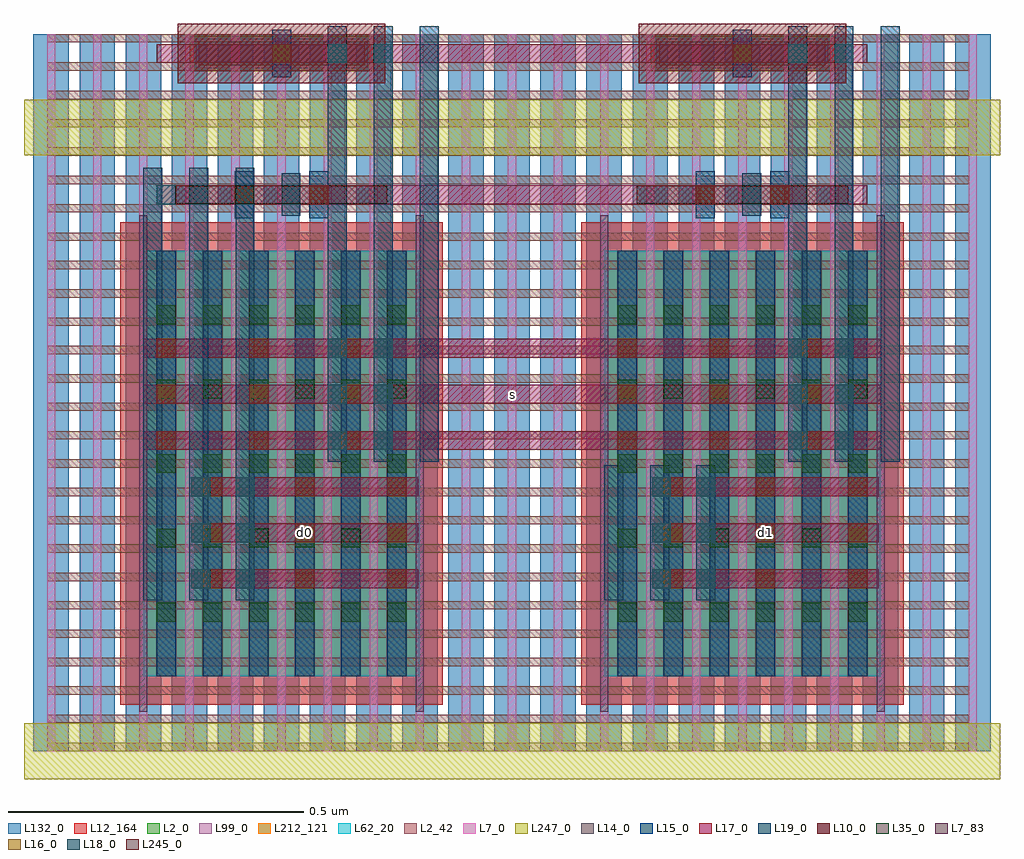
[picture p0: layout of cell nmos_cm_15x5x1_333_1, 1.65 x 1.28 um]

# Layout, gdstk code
import gdstk
lib = gdstk.Library(unit=1e-6, precision=1e-12)
def R(c, l, rs):  # rectangles x0, y0, x1, y1
    for r in rs: c.add(gdstk.rectangle(r[:2], r[2:], *l))
def A(c, l, x, y, w, h, nx, ny, dx, dy):  # array of equal rectangles
    R(c, l, [(x+i*dx, y+j*dy, x+i*dx+w, y+j*dy+h) for i in range(nx) for j in range(ny)])
L2_0 = (2, 0)
L2_42 = (2, 42)
L7_0 = (7, 0)
L7_83 = (7, 83)
L10_0 = (10, 0)
L12_164 = (12, 164)
L14_0 = (14, 0)
L15_0 = (15, 0)
L16_0 = (16, 0)
L17_0 = (17, 0)
L18_0 = (18, 0)
L19_0 = (19, 0)
L35_0 = (35, 0)
L62_20 = (62, 20)
L99_0 = (99, 0)
L132_0 = (132, 0)
L212_121 = (212, 121)
L245_0 = (245, 0)
L247_0 = (247, 0)

nmos_cm_15x5x1_333_1 = lib.new_cell('nmos_cm_15x5x1_333_1')
R(nmos_cm_15x5x1_333_1, L2_0, [(0.186,0.127,0.654,0.847), (0.966,0.127,1.434,0.847), (0.2645,1.151,0.5755,1.211), (1.0445,1.151,1.3555,1.211)])
A(nmos_cm_15x5x1_333_1, L2_42, 0.023, 0, 1.56, 0.014, 1, 26, 0, 0.048)
A(nmos_cm_15x5x1_333_1, L7_0, 0.023, 0, 0.014, 1.214, 21, 1, 0.078, 0)
R(nmos_cm_15x5x1_333_1, L7_83, [(0.179,0.067,0.193,0.907), (0.647,0.067,0.661,0.907), (0.959,0.067,0.973,0.907), (1.427,0.067,1.441,0.907)])
R(nmos_cm_15x5x1_333_1, L10_0, [(0.2445,1.131,0.5955,1.231), (1.0245,1.131,1.3755,1.231)])
R(nmos_cm_15x5x1_333_1, L12_164, [(0.147,0.079,0.693,0.895), (0.927,0.079,1.473,0.895)])
A(nmos_cm_15x5x1_333_1, L14_0, 0.208, 0.127, 0.034, 0.72, 6, 1, 0.078, 0)
A(nmos_cm_15x5x1_333_1, L14_0, 0.988, 0.127, 0.034, 0.72, 6, 1, 0.078, 0)
R(nmos_cm_15x5x1_333_1, L14_0, [(0.2795,1.161,0.5605,1.201), (1.0595,1.161,1.3405,1.201)])
A(nmos_cm_15x5x1_333_1, L15_0, 0.209, 0.127, 0.032, 0.72, 6, 1, 0.078, 0)
A(nmos_cm_15x5x1_333_1, L15_0, 0.989, 0.127, 0.032, 0.72, 6, 1, 0.078, 0)
R(nmos_cm_15x5x1_333_1, L15_0, [(0.341,0.902,0.373,0.982), (0.467,0.902,0.499,0.982), (1.121,0.902,1.153,0.982), (1.247,0.902,1.279,0.982), (0.404,1.141,0.436,1.221), (1.184,1.141,1.216,1.221)])
A(nmos_cm_15x5x1_333_1, L16_0, 0.287, 0.276, 0.032, 0.032, 3, 3, 0.156, 0.078)
A(nmos_cm_15x5x1_333_1, L16_0, 1.067, 0.276, 0.032, 0.032, 3, 3, 0.156, 0.078)
A(nmos_cm_15x5x1_333_1, L16_0, 0.209, 0.51, 0.032, 0.032, 3, 3, 0.156, 0.078)
A(nmos_cm_15x5x1_333_1, L16_0, 0.989, 0.51, 0.032, 0.032, 3, 3, 0.156, 0.078)
R(nmos_cm_15x5x1_333_1, L16_0, [(0.341,0.926,0.373,0.958), (0.467,0.926,0.499,0.958), (1.121,0.926,1.153,0.958), (1.247,0.926,1.279,0.958), (0.404,1.165,0.436,1.197), (1.184,1.165,1.216,1.197)])
A(nmos_cm_15x5x1_333_1, L17_0, 0.267, 0.276, 0.384, 0.032, 1, 3, 0, 0.078)
A(nmos_cm_15x5x1_333_1, L17_0, 1.047, 0.276, 0.384, 0.032, 1, 3, 0, 0.078)
A(nmos_cm_15x5x1_333_1, L17_0, 0.186, 0.51, 0.468, 0.032, 1, 3, 0, 0.078)
A(nmos_cm_15x5x1_333_1, L17_0, 0.644, 0.51, 0.332, 0.032, 1, 3, 0, 0.078)
A(nmos_cm_15x5x1_333_1, L17_0, 0.966, 0.51, 0.468, 0.032, 1, 3, 0, 0.078)
R(nmos_cm_15x5x1_333_1, L17_0, [(0.209,0.926,0.631,0.958), (0.621,0.926,0.999,0.958), (0.989,0.926,1.411,0.958), (0.209,1.165,0.631,1.197), (0.621,1.165,0.999,1.197), (0.989,1.165,1.411,1.197)])
A(nmos_cm_15x5x1_333_1, L18_0, 0.267, 0.276, 0.032, 0.032, 1, 3, 0, 0.078)
A(nmos_cm_15x5x1_333_1, L18_0, 0.342, 0.276, 0.032, 0.032, 1, 3, 0, 0.078)
A(nmos_cm_15x5x1_333_1, L18_0, 1.047, 0.276, 0.032, 0.032, 1, 3, 0, 0.078)
A(nmos_cm_15x5x1_333_1, L18_0, 1.122, 0.276, 0.032, 0.032, 1, 3, 0, 0.078)
A(nmos_cm_15x5x1_333_1, L18_0, 0.498, 0.51, 0.032, 0.032, 1, 3, 0, 0.078)
A(nmos_cm_15x5x1_333_1, L18_0, 0.576, 0.51, 0.032, 0.032, 1, 3, 0, 0.078)
A(nmos_cm_15x5x1_333_1, L18_0, 1.278, 0.51, 0.032, 0.032, 1, 3, 0, 0.078)
A(nmos_cm_15x5x1_333_1, L18_0, 1.356, 0.51, 0.032, 0.032, 1, 3, 0, 0.078)
A(nmos_cm_15x5x1_333_1, L18_0, 0.264, 0.926, 0.032, 0.032, 3, 1, 0.078, 0)
R(nmos_cm_15x5x1_333_1, L18_0, [(0.209,0.926,0.241,0.958), (1.2,0.926,1.232,0.958), (0.498,1.165,0.53,1.197), (0.576,1.165,0.608,1.197), (1.278,1.165,1.31,1.197), (1.356,1.165,1.388,1.197)])
A(nmos_cm_15x5x1_333_1, L19_0, 0.186, 0.256, 0.032, 0.228, 3, 1, 0.078, 0)
A(nmos_cm_15x5x1_333_1, L19_0, 0.966, 0.256, 0.032, 0.228, 3, 1, 0.078, 0)
A(nmos_cm_15x5x1_333_1, L19_0, 0.186, 0.474, 0.032, 0.514, 3, 1, 0.078, 0)
A(nmos_cm_15x5x1_333_1, L19_0, 0.498, 0.49, 0.032, 0.228, 3, 1, 0.078, 0)
A(nmos_cm_15x5x1_333_1, L19_0, 1.278, 0.49, 0.032, 0.228, 3, 1, 0.078, 0)
A(nmos_cm_15x5x1_333_1, L19_0, 0.498, 0.708, 0.032, 0.519, 3, 1, 0.078, 0)
A(nmos_cm_15x5x1_333_1, L19_0, 1.278, 0.708, 0.032, 0.519, 3, 1, 0.078, 0)
R(nmos_cm_15x5x1_333_1, L19_0, [(0.42,0.906,0.452,0.978), (1.2,0.906,1.232,0.978)])
A(nmos_cm_15x5x1_333_1, L35_0, 0.209, 0.219, 0.032, 0.032, 6, 5, 0.078, 0.126)
A(nmos_cm_15x5x1_333_1, L35_0, 0.989, 0.219, 0.032, 0.032, 6, 5, 0.078, 0.126)
R(nmos_cm_15x5x1_333_1, L35_0, [(0.341,0.926,0.373,0.958), (0.467,0.926,0.499,0.958), (1.121,0.926,1.153,0.958), (1.247,0.926,1.279,0.958), (0.404,1.165,0.436,1.197), (1.184,1.165,1.216,1.197)])
R(nmos_cm_15x5x1_333_1, L62_20, [(0.186,0.127,0.654,0.847), (0.966,0.127,1.434,0.847)])
R(nmos_cm_15x5x1_333_1, L99_0, [(0.186,0.127,0.654,0.847), (0.966,0.127,1.434,0.847), (0.2745,1.156,0.5655,1.206), (1.0545,1.156,1.3455,1.206)])
A(nmos_cm_15x5x1_333_1, L132_0, 0, 0, 0.06, 1.214, 21, 1, 0.078, 0)
R(nmos_cm_15x5x1_333_1, L212_121, [(0.186,0.127,0.654,0.847), (0.966,0.127,1.434,0.847)])
R(nmos_cm_15x5x1_333_1, L245_0, [(0.241,0.927,0.599,0.957), (1.021,0.927,1.379,0.957)])
R(nmos_cm_15x5x1_333_1, L247_0, [(-0.016,-0.047,0.856,0.047), (0.764,-0.047,1.636,0.047), (-0.016,1.009,0.856,1.103), (0.764,1.009,1.636,1.103)])
nmos_cm_15x5x1_333_1.add(gdstk.Label('s', (0.81,0.604), layer=16, texttype=20))
nmos_cm_15x5x1_333_1.add(gdstk.Label('d1', (1.239,0.37), layer=16, texttype=20))
nmos_cm_15x5x1_333_1.add(gdstk.Label('d0', (0.459,0.37), layer=16, texttype=20))

lib.write_gds('nmos_cm_15x5x1_333_1.gds')
